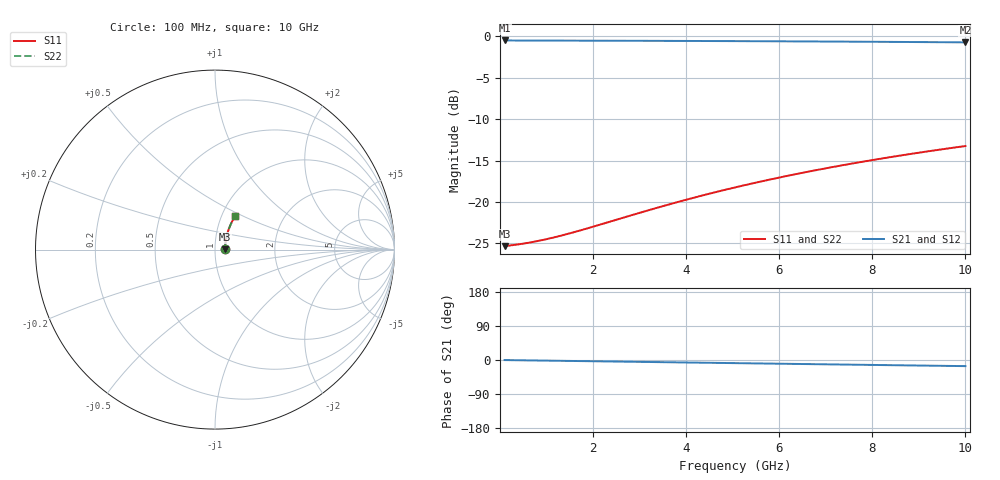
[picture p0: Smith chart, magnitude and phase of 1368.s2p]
# Hz S RI R 50.00
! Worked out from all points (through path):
!   100 points, 100 MHz to 10 GHz, reference 50 ohm
!   highest |S21| = -0.48 dB at 100 MHz (marker M1); lowest = -0.7 dB at 10 GHz (marker M2)
!   group delay of S21, straight-line fit = 4.5 ps
!   lowest |S11| = -25.3 dB at 100 MHz (marker M3), VSWR 1.11, Z = 55.7 + j0.225 ohm
!   |S11| at or under -10 dB: start of sweep to end of sweep
!   |S22| runs from -25.3 to -13.2 dB; largest |S21 - S12| = 0
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1e8  0.054 0.00201  0.946 -0.00272  0.946 -0.00272  0.054 0.00201
5e8  0.0551 0.01  0.9449 -0.0136  0.9449 -0.0136  0.0551 0.01
7e8  0.0555 0.014  0.9445 -0.019  0.9445 -0.019  0.0555 0.014
9e8  0.0559 0.018  0.9441 -0.0244  0.9441 -0.0244  0.0559 0.018
1.1e9  0.0563 0.022  0.9437 -0.0298  0.9437 -0.0298  0.0563 0.022
1.3e9  0.0567 0.026  0.9432 -0.0352  0.9432 -0.0352  0.0567 0.026
1.5e9  0.0572 0.03  0.9427 -0.0405  0.9427 -0.0405  0.0572 0.03
1.8e9  0.058 0.036  0.9419 -0.0486  0.9419 -0.0486  0.058 0.036
2.9e9  0.0615 0.0576  0.9383 -0.078  0.9383 -0.078  0.0615 0.0576
3.4e9  0.0634 0.0674  0.9362 -0.0913  0.9362 -0.0913  0.0634 0.0674
3.9e9  0.0657 0.0771  0.9339 -0.1045  0.9339 -0.1045  0.0657 0.0771
4.3e9  0.0676 0.0848  0.9319 -0.115  0.9319 -0.115  0.0676 0.0848
4.7e9  0.0698 0.0924  0.9296 -0.1255  0.9296 -0.1255  0.0698 0.0924
5.1e9  0.0721 0.1  0.9272 -0.1359  0.9272 -0.1359  0.0721 0.1
5.5e9  0.0745 0.1075  0.9247 -0.1462  0.9247 -0.1462  0.0745 0.1075
5.9e9  0.0772 0.1149  0.9219 -0.1565  0.9219 -0.1565  0.0772 0.1149
6.3e9  0.0799 0.1223  0.919 -0.1667  0.919 -0.1667  0.0799 0.1223
6.7e9  0.0829 0.1296  0.9159 -0.1768  0.9159 -0.1768  0.0829 0.1296
7.5e9  0.0892 0.1439  0.9093 -0.1967  0.9093 -0.1967  0.0892 0.1439
8.4e9  0.097 0.1596  0.9011 -0.2188  0.9011 -0.2188  0.097 0.1596
9.2e9  0.1046 0.1731  0.8932 -0.238  0.8932 -0.238  0.1046 0.1731
1e10  0.1127 0.1861  0.8847 -0.2567  0.8847 -0.2567  0.1127 0.1861
